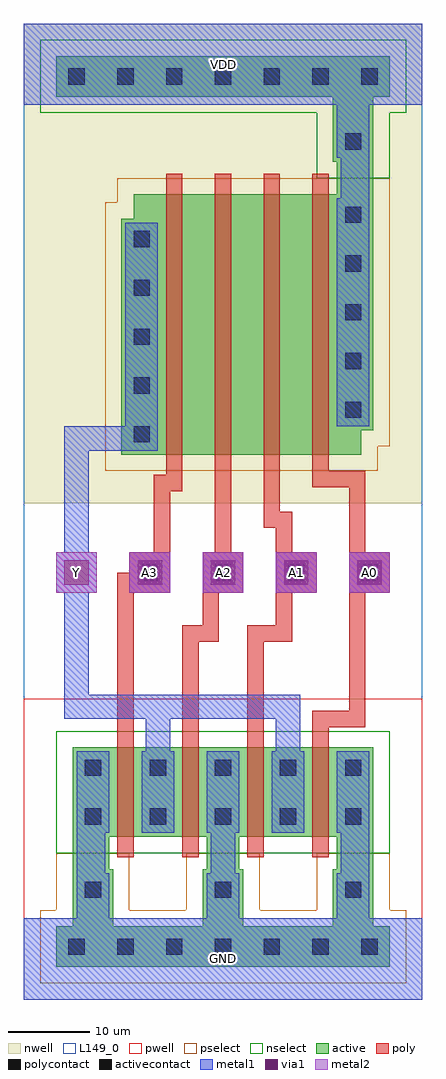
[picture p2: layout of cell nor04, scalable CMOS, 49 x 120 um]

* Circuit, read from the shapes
.subckt nor04 A0 A1 A2 A3 GND VDD Y
M1 Y A3 GND GND nfet w=11u l=2u
M2 GND A2 Y GND nfet w=11u l=2u
M3 Y A1 GND GND nfet w=11u l=2u
M4 GND A0 Y GND nfet w=11u l=2u
M5 n1 A3 Y VDD pfet w=32u l=2u
M6 n2 A2 n1 VDD pfet w=32u l=2u
M7 n3 A1 n2 VDD pfet w=32u l=2u
M8 VDD A0 n3 VDD pfet w=32u l=2u
.ends

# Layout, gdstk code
import gdstk
lib = gdstk.Library(unit=1e-6, precision=1e-09)
def R(c, l, rs):  # rectangles x0, y0, x1, y1
    for r in rs: c.add(gdstk.rectangle(r[:2], r[2:], *l))
def A(c, l, x, y, w, h, nx, ny, dx, dy):  # array of equal rectangles
    R(c, l, [(x+i*dx, y+j*dy, x+i*dx+w, y+j*dy+h) for i in range(nx) for j in range(ny)])
def P(c, l, *ps):  # polygons
    for p in ps: c.add(gdstk.Polygon(p, *l))
pwell = (41, 0)
nwell = (42, 0)
active = (43, 0)
pselect = (44, 0)
nselect = (45, 0)
poly = (46, 0)
polycontact = (47, 0)
activecontact = (48, 0)
metal1 = (49, 0)
via1 = (50, 0)
metal2 = (51, 0)
L149_0 = (149, 0)

via = lib.new_cell('via')
R(via, metal1, [(-2.5,-2.5,2.5,2.5)])
R(via, via1, [(-1.5,-1.5,1.5,1.5)])
R(via, metal2, [(-2.5,-2.5,2.5,2.5)])

nor04 = lib.new_cell('nor04')
R(nor04, pwell, [(0,0,49,37), (0,14,49,37)])
R(nor04, nwell, [(0,61,49,120)])
P(nor04, nwell, [(6,61),(6,102),(7.5,102),(7.5,105),(49,105),(49,64),(47.5,64),(47.5,61)])
A(nor04, active, 6, 9, 5, 7, 3, 1, 16, 0)
R(nor04, active, [(4,4,45,9), (6,16,10.5,20), (22.5,16,26.5,20), (38.5,16,43,20), (6,20,43,31), (6,20,11.5,31), (37.5,20,43,31), (38.5,99,43,103), (38,103,43,111), (4,111,45,116)])
P(nor04, active, [(37.5,67),(37.5,99),(43,99),(43,70),(41.5,70),(41.5,67)],
  [(12,67),(12,96),(13.5,96),(13.5,99),(43,99),(43,70),(41.5,70),(41.5,67)],
  [(12,67),(12,96),(13.5,96),(13.5,99),(17.5,99),(17.5,67)])
A(nor04, pselect, 4, 11, 9, 7, 3, 1, 16, 0)
R(nor04, pselect, [(2,2,47,11)])
P(nor04, pselect, [(10,65),(10,98),(11.5,98),(11.5,101),(45,101),(45,68),(43.5,68),(43.5,65)])
R(nor04, nselect, [(4,18,45,33), (36,101,45,109), (2,109,47,118)])
A(nor04, poly, 11.5, 17.5, 2, 2.5, 4, 2, 8, 13.5)
A(nor04, poly, 11.5, 20, 2, 11, 4, 1, 8, 0)
A(nor04, poly, 13, 50, 5, 5, 4, 1, 9, 0)
A(nor04, poly, 17.5, 64.5, 2, 2.5, 4, 2, 6, 34.5)
A(nor04, poly, 17.5, 67, 2, 32, 4, 1, 6, 0)
A(nor04, polycontact, 14.5, 51.5, 2, 2, 4, 1, 9, 0)
A(nor04, activecontact, 5.5, 5.5, 2, 2, 7, 2, 6, 107)
A(nor04, activecontact, 7.5, 12.5, 2, 2, 3, 1, 16, 0)
A(nor04, activecontact, 7.5, 21.5, 2, 2, 5, 2, 8, 6)
A(nor04, activecontact, 13.5, 68.5, 2, 2, 1, 5, 0, 6)
A(nor04, activecontact, 39.5, 71.5, 2, 2, 1, 5, 0, 6)
R(nor04, activecontact, [(39.5,104.5,41.5,106.5)])
A(nor04, metal1, 6.5, 10, 4, 5.5, 3, 1, 16, 0)
A(nor04, metal1, 6.5, 20.5, 4, 10, 5, 1, 8, 0)
A(nor04, metal1, 13.5, 50.5, 4, 4, 4, 1, 9, 0)
R(nor04, metal1, [(0,0,49,10), (6.5,15.5,10,20.5), (23,15.5,26,20.5), (39,15.5,42.5,20.5), (12.5,67.5,16.5,95.5), (38.5,70.5,42.5,98.5), (39,98.5,42.5,103.5), (38.5,103.5,42.5,110), (0,110,49,120)])
A(nor04, metal2, 4, 50, 5, 5, 5, 1, 9, 0)
R(nor04, L149_0, [(0,0,49,120)])
nor04.add(gdstk.FlexPath([(6.5,55),(6.5,69),(12.5,69)], 3, ends="flush", simple_path=True, layer=49, datatype=0))  # metal1
nor04.add(gdstk.FlexPath([(6.5,50),(6.5,36),(16.5,36),(16.5,30.5)], 3, ends="flush", simple_path=True, layer=49, datatype=0))  # metal1
nor04.add(gdstk.FlexPath([(18,36),(32.5,36),(32.5,30.5)], 3, ends="flush", simple_path=True, layer=49, datatype=0))  # metal1
nor04.add(gdstk.FlexPath([(30.5,64.5),(30.5,59),(32,59),(32,55)], 2, ends="flush", simple_path=True, layer=46, datatype=0))  # poly
nor04.add(gdstk.FlexPath([(24.5,64.5),(24.5,55)], 2, ends="flush", simple_path=True, layer=46, datatype=0))  # poly
nor04.add(gdstk.FlexPath([(19.5,63.5),(17,63.5),(17,55)], 2, ends="flush", simple_path=True, layer=46, datatype=0))  # poly
nor04.add(gdstk.FlexPath([(35.5,64),(41,64),(41,55)], 2, ends="flush", simple_path=True, layer=46, datatype=0))  # poly
nor04.add(gdstk.FlexPath([(35.5,34.5),(41,34.5),(41,50)], 2, ends="flush", simple_path=True, layer=46, datatype=0))  # poly
nor04.add(gdstk.FlexPath([(12.5,33.5),(12.5,52.5)], 2, ends="flush", simple_path=True, layer=46, datatype=0))  # poly
nor04.add(gdstk.FlexPath([(23,50),(23,45),(20.5,45),(20.5,33.5)], 2, ends="flush", simple_path=True, layer=46, datatype=0))  # poly
nor04.add(gdstk.FlexPath([(28.5,33.5),(28.5,45),(32,45),(32,50)], 2, ends="flush", simple_path=True, layer=46, datatype=0))  # poly
nor04.add(gdstk.Reference(via, (24.5,52.5)))
nor04.add(gdstk.Reference(via, (15.5,52.5)))
nor04.add(gdstk.Reference(via, (42.5,52.5)))
nor04.add(gdstk.Reference(via, (33.5,52.5)))
nor04.add(gdstk.Reference(via, (6.5,52.5)))
nor04.add(gdstk.Label('A3', (15.5,52.5), layer=3, texttype=0))
nor04.add(gdstk.Label('Y', (6.5,52.5), layer=3, texttype=0))
nor04.add(gdstk.Label('A1', (33.5,52.5), layer=3, texttype=0))
nor04.add(gdstk.Label('A0', (42.5,52.5), layer=3, texttype=0))
nor04.add(gdstk.Label('A2', (24.5,52.5), layer=3, texttype=0))
nor04.add(gdstk.Label('GND', (24.5,5), layer=2, texttype=0))
nor04.add(gdstk.Label('VDD', (24.5,115), layer=2, texttype=0))
nor04.add(gdstk.Label('GND', (24.5,5), layer=2, texttype=0))
nor04.add(gdstk.Label('VDD', (24.5,115), layer=2, texttype=0))
nor04.add(gdstk.Label('A3', (15.5,52.5), layer=3, texttype=0))
nor04.add(gdstk.Label('Y', (6.5,52.5), layer=3, texttype=0))
nor04.add(gdstk.Label('A1', (33.5,52.5), layer=3, texttype=0))
nor04.add(gdstk.Label('A0', (42.5,52.5), layer=3, texttype=0))
nor04.add(gdstk.Label('A2', (24.5,52.5), layer=3, texttype=0))

lib.write_gds('nor04.gds')
